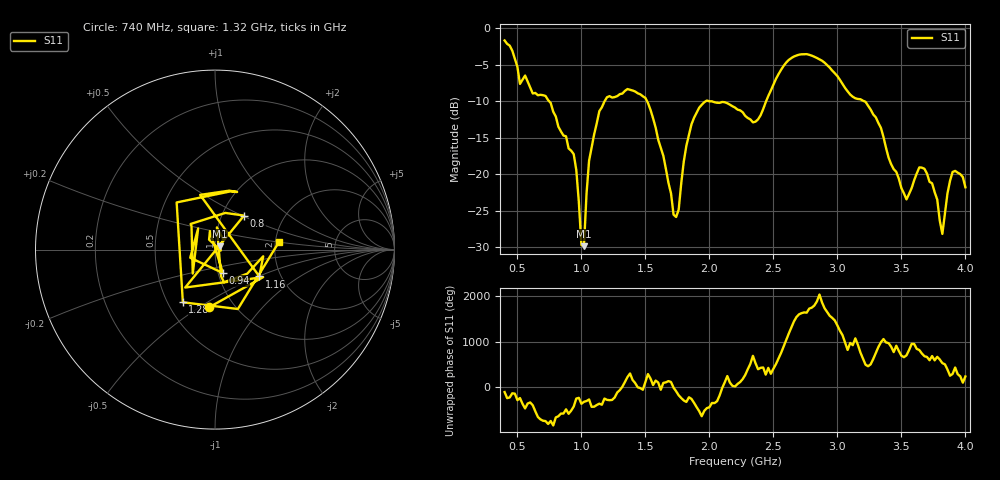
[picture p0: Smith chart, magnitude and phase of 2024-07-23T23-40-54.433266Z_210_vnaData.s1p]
!Created with skrf (http://scikit-rf.org).
# Hz S RI R 50.0
!freq ReS11 ImS11
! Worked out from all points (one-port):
!   181 points, 400 MHz to 4 GHz, reference 50 ohm
!   lowest |S11| = -29.8 dB at 1.02 GHz (marker M1), VSWR 1.07, Z = 52.7 + j1.85 ohm
!   |S11| at or under -10 dB: 749.2 MHz to 1.18 GHz (431.1 MHz wide, 44.7 % of centre); 1.514 GHz to 1.969 GHz (455.6 MHz wide, 26.2 % of centre); 3.213 GHz to end of sweep (the widest 3 of 4)
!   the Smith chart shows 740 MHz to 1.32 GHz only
!   S11 on the Smith chart (normalised r, x): 740 MHz: 0.77, -0.55; 800 MHz: 1.27, +0.51; 940 MHz: 1.05, -0.28; 1.16 GHz: 1.56, -0.51; 1.28 GHz: 0.60, -0.40; 1.32 GHz: 2.09, +0.20
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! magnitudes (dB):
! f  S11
! 400 MHz  -1.6
! 520 MHz  -7.6
! 740 MHz  -9.8
! 800 MHz  -12.1
! 860 MHz  -14.7
! 940 MHz  -17.2
! 1 GHz  -29.7
! 1.02 GHz  -29.8
! 1.06 GHz  -18.1
! 1.16 GHz  -10.8
! 1.28 GHz  -9.3
! 1.3 GHz  -9.0
! 1.32 GHz  -8.9
! 1.52 GHz  -10.2
! 1.72 GHz  -25.5
! 1.76 GHz  -24.8
! 1.82 GHz  -16.1
! 1.92 GHz  -10.9
! 2.2 GHz  -10.8
! 2.36 GHz  -12.8
! 2.66 GHz  -3.8
! 3.1 GHz  -9.1
! 3.3 GHz  -12.2
! 3.56 GHz  -22.7
! 3.68 GHz  -19.2
! 3.82 GHz  -28.2
! 3.9 GHz  -19.7
! 4 GHz  -21.8
